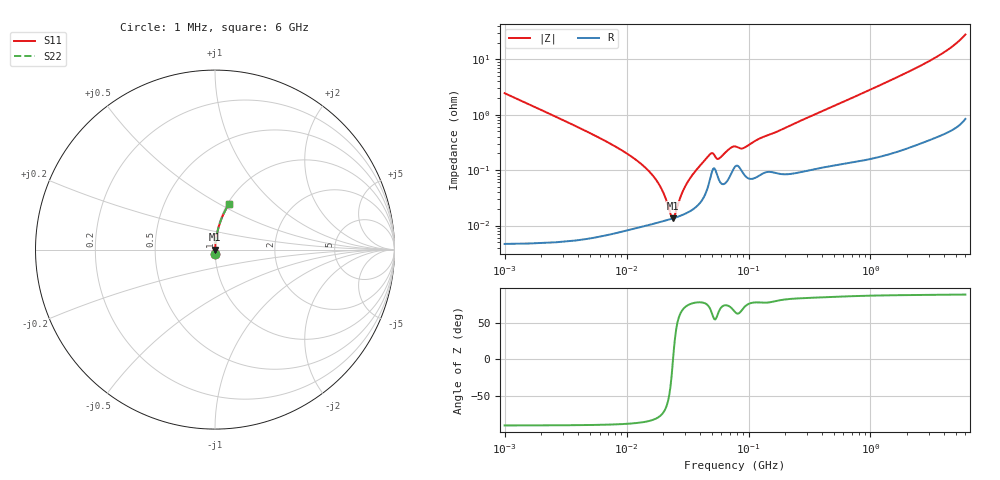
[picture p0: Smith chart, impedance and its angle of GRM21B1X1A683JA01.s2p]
!Murata Part Number: GRM21B1X1A683JA01
!These Parameters are Measured in Series Mode Connection
!Data Generated on Mar 30, 2021
!  o--ll--o
!Port1  Port2
!  o------o
!Operation Temp=25[degC], DC Bias Voltage=0[V]
!Freq. Start=1000[kHz] Stop=6[GHz] 401[Steps]
# Hz S RI R 50
!Freq.(Hz) S11(Real) S11(Imag) S21(Real) S21(Imag) S12(Real) S12(Imag) S22(Real) S22(Imag)
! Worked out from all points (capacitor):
!   401 points, 1 MHz to 6 GHz, reference 50 ohm
!   read as one part in series: C = 65 nF near 1.044 MHz
!   lowest |Z| = 13.5 mohm at 23.93 MHz (marker M1)
!   series resonance near 24.04 MHz, so ESL is about 670 pH
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1000000  0.000644 -0.0244  0.9994 0.0244  0.9994 0.0244  0.000644 -0.0244
4293785  8.59e-05 -0.00551  0.9999 0.00551  0.9999 0.00551  8.59e-05 -0.00551
1.142569e7  9e-05 -0.00165  0.9999 0.00165  0.9999 0.00165  9e-05 -0.00165
1.515906e7  0.000103 -0.000966  0.9999 0.000966  0.9999 0.000966  0.000103 -0.000966
1.843659e7  0.000114 -0.000544  0.9999 0.000544  0.9999 0.000544  0.000114 -0.000544
2.055453e7  0.000122 -0.00032  0.9999 0.00032  0.9999 0.00032  0.000122 -0.00032
2.291577e7  0.00013 -9.78e-05  0.9999 9.78e-05  0.9999 9.78e-05  0.00013 -9.78e-05
2.393455e7  0.000134 -9e-06  0.9999 9e-06  0.9999 9e-06  0.000134 -9e-06
2.499862e7  0.000139 8.02e-05  0.9999 -8.02e-05  0.9999 -8.02e-05  0.000139 8.02e-05
2.848316e7  0.000154 0.000353  0.9998 -0.000353  0.9998 -0.000353  0.000154 0.000353
3.175522e7  0.000172 0.000591  0.9998 -0.000591  0.9998 -0.000591  0.000172 0.000591
4.596069e7  0.000465 0.00165  0.9995 -0.00165  0.9995 -0.00165  0.000465 0.00165
5.013812e7  0.000934 0.0018  0.9991 -0.0018  0.9991 -0.0018  0.000934 0.0018
5.712686e7  0.000673 0.00146  0.9993 -0.00146  0.9993 -0.00146  0.000673 0.00146
7.100585e7  0.000808 0.00236  0.9992 -0.00236  0.9992 -0.00236  0.000808 0.00236
7.745967e7  0.00116 0.00242  0.9988 -0.00242  0.9988 -0.00242  0.00116 0.00242
9.218041e7  0.00083 0.00239  0.9992 -0.00239  0.9992 -0.00239  0.00083 0.00239
1.249896e8  0.000831 0.00368  0.9992 -0.00368  0.9992 -0.00368  0.000831 0.00368
3.325952e8  0.00111 0.00959  0.9989 -0.00959  0.9989 -0.00959  0.00111 0.00959
1.428092e9  0.00359 0.0406  0.9964 -0.0406  0.9964 -0.0406  0.00359 0.0406
3.5601e9  0.0166 0.1114  0.9834 -0.1114  0.9834 -0.1114  0.0166 0.1114
6e9  0.0796 0.2562  0.9204 -0.2562  0.9204 -0.2562  0.0796 0.2562
